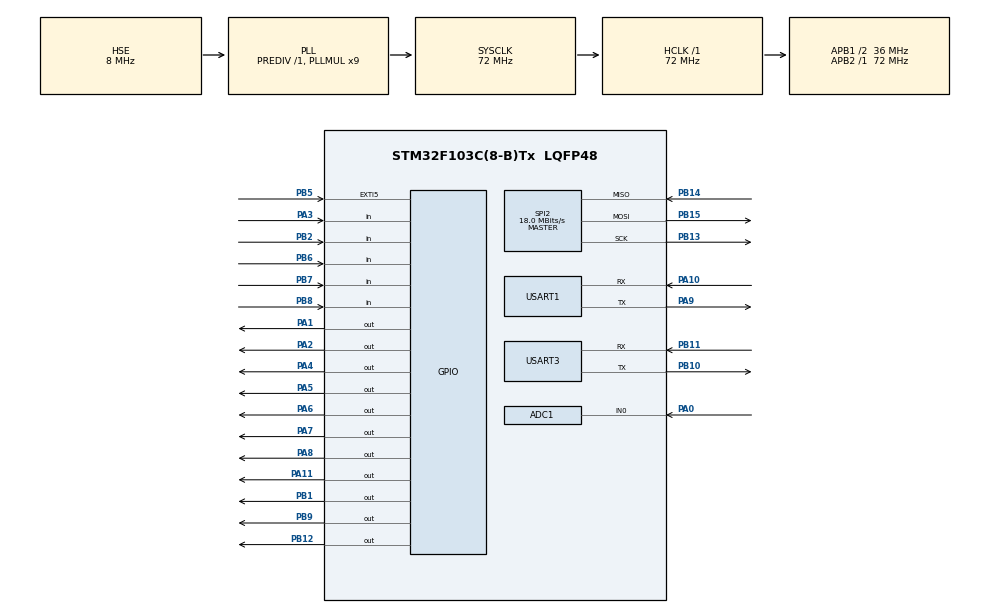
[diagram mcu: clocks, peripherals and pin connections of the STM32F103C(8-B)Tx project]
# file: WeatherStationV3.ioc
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ADC1.Channel-2\#ChannelRegularConversion=ADC_CHANNEL_0
ADC1.ContinuousConvMode=ENABLE
ADC1.DataAlign=ADC_DATAALIGN_RIGHT
ADC1.DiscontinuousConvMode=DISABLE
ADC1.EnableAnalogWatchDog=false
ADC1.EnableRegularConversion=ENABLE
ADC1.ExternalTrigConv=ADC_SOFTWARE_START
ADC1.InjNumberOfConversion=0
ADC1.NbrOfConversion=1
ADC1.NbrOfConversionFlag=1
ADC1.Rank-2\#ChannelRegularConversion=1
ADC1.SamplingTime-2\#ChannelRegularConversion=ADC_SAMPLETIME_1CYCLE_5
ADC1.ScanConvMode=ADC_SCAN_DISABLE
ADC1.master=1
IWDG.Prescaler=IWDG_PRESCALER_256
Mcu.Family=STM32F1
Mcu.Name=STM32F103C(8-B)Tx
Mcu.Package=LQFP48
NVIC.EXTI9_5_IRQn=true\:0\:0\:false\:false\:true\:true\:true
NVIC.PriorityGroup=NVIC_PRIORITYGROUP_4
NVIC.USART1_IRQn=true\:0\:0\:false\:false\:true\:true\:true
NVIC.USART3_IRQn=true\:0\:0\:false\:false\:true\:true\:true
PA0-WKUP.Signal=ADCx_IN0
PA1.Signal=GPIO_Output
PA10.Mode=Asynchronous
PA10.Signal=USART1_RX
PA11.GPIO_PuPd=GPIO_NOPULL
PA11.PinState=GPIO_PIN_SET
PA11.Signal=GPIO_Output
PA13.Mode=Serial_Wire
PA13.Signal=SYS_JTMS-SWDIO
PA14.Mode=Serial_Wire
PA14.Signal=SYS_JTCK-SWCLK
PA2.Signal=GPIO_Output
PA3.Signal=GPIO_Input
PA4.Signal=GPIO_Output
PA5.Signal=GPIO_Output
PA6.Signal=GPIO_Output
PA7.Signal=GPIO_Output
PA8.GPIO_ModeDefaultOutputPP=GPIO_MODE_OUTPUT_OD
PA8.Signal=GPIO_Output
PA9.Mode=Asynchronous
PA9.Signal=USART1_TX
PB1.Signal=GPIO_Output
PB10.Mode=Asynchronous
PB10.Signal=USART3_TX
PB11.Mode=Asynchronous
PB11.Signal=USART3_RX
PB12.Signal=GPIO_Output
PB13.Mode=Full_Duplex_Master
PB13.Signal=SPI2_SCK
PB14.Mode=Full_Duplex_Master
PB14.Signal=SPI2_MISO
PB15.Mode=Full_Duplex_Master
PB15.Signal=SPI2_MOSI
PB2.Signal=GPIO_Input
PB5.GPIO_ModeDefaultEXTI=GPIO_MODE_IT_FALLING
PB5.GPIO_PuPd=GPIO_PULLUP
PB5.Signal=GPXTI5
PB6.GPIO_PuPd=GPIO_PULLUP
PB6.Signal=GPIO_Input
PB7.GPIO_PuPd=GPIO_PULLUP
PB7.Signal=GPIO_Input
PB8.Signal=GPIO_Input
PB9.GPIO_PuPd=GPIO_PULLUP
PB9.GPIO_Speed=GPIO_SPEED_FREQ_HIGH
PB9.PinState=GPIO_PIN_SET
PB9.Signal=GPIO_Output
PC14-OSC32_IN.Mode=LSE-External-Oscillator
PC14-OSC32_IN.Signal=RCC_OSC32_IN
PC15-OSC32_OUT.Mode=LSE-External-Oscillator
PC15-OSC32_OUT.Signal=RCC_OSC32_OUT
PD0-OSC_IN.Mode=HSE-External-Oscillator
PD0-OSC_IN.Signal=RCC_OSC_IN
PD1-OSC_OUT.Mode=HSE-External-Oscillator
PD1-OSC_OUT.Signal=RCC_OSC_OUT
ProjectManager.HeapSize=0x300
ProjectManager.StackSize=0x400
ProjectManager.TargetToolchain=MDK-ARM V5
RCC.ADCPresc=RCC_ADCPCLK2_DIV6
RCC.AHBFreq_Value=72000000
RCC.APB1CLKDivider=RCC_HCLK_DIV2
RCC.APB1Freq_Value=36000000
RCC.APB1TimFreq_Value=72000000
RCC.APB2Freq_Value=72000000
RCC.APB2TimFreq_Value=72000000
RCC.HCLKFreq_Value=72000000
RCC.PLLMUL=RCC_PLL_MUL9
RCC.PLLSourceVirtual=RCC_PLLSOURCE_HSE
RCC.RTCClockSelection=RCC_RTCCLKSOURCE_LSE
RCC.SYSCLKFreq_VALUE=72000000
RCC.SYSCLKSource=RCC_SYSCLKSOURCE_PLLCLK
RCC.USBFreq_Value=72000000
SH.ADCx_IN0.0=ADC1_IN0,IN0
SPI2.BaudRatePrescaler=SPI_BAUDRATEPRESCALER_2
SPI2.CalculateBaudRate=18.0 MBits/s
SPI2.Direction=SPI_DIRECTION_2LINES
SPI2.Mode=SPI_MODE_MASTER
SPI2.VirtualType=VM_MASTER
USART1.VirtualMode=VM_ASYNC
USART3.VirtualMode=VM_ASYNC
VP_IWDG_VS_IWDG.Mode=IWDG_Activate
VP_RTC_VS_RTC_Activate.Mode=RTC_Enabled
VP_RTC_VS_RTC_Calendar.Mode=RTC_Calendar
board=custom

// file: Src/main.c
/* USER CODE BEGIN Header */
/*************************************************************************************************************
舸轮综合电子工作室(GIE工作室)        出品
Gearing Interated Electronics Studio

气象站3.0 边缘数据服务器（室内中继、上传与存储）

本文件是主函数和数据存储、主界面刷新等

主要功能：通过SX1278接收437MHz频段来自室外采集端的数据包，将数据包解码、打时间戳后存储到本地Flash中，再上传至
中移Onenet平台，WiFi的相关参数可通过AT命令修改，数据删除可通过内部UI实现

关注贴吧ID：tnt34 获得最新工作成果
关注B站UP主：GIE工作室 获得更多视频资源

2020-12-21第一版
版权所有 禁止用于任何商业用途！
***********************************************************************************************************/
/* USER CODE END Header */
#include "main.h"
#include "adc.h"
#include "iwdg.h"
#include "rtc.h"
#include "spi.h"
#include "usart.h"
#include "gpio.h"

/* USER CODE BEGIN Includes */
#include "sx12xxEiger.h"
#include "string.h"
#include "stdlib.h"
#include "user_para_init.h"
/* USER CODE END Includes */

/* USER CODE BEGIN PV */
/* Private variables ---------------------------------------------------------*/
RTC_DateTypeDef sdatestructure;
RTC_TimeTypeDef stimestructure;
unsigned char CM_Onenet_devID[24]="657283663";//默认设备ID
unsigned char CM_Onenet_api_key[40]="SkVLFtTMpEFf=xG581jwowTZ9q0=";//默认API-Key
unsigned char API_Base_addr[]="183.230.40.33";//默认接入地址
unsigned char Wifi_SSID[21]="GIE_Studio_NetCenter";//默认Wifi名
unsigned char Wifi_password[20]="7104021730114";//默认Wifi密码
int curr_addr_flash=0;//当前最新数据所在地址尾
//flash(W25Q128)的第0 block用于存放配置信息：
unsigned char default_setting[]={
	0xaf,//0-0  0xaf起始位
	0x00,0x77,0xEF,0x4F,0x53,//1-5  最新数据时间戳
	0x01,0x00,0x00,//6-8  当前最新数据所在地址，去除第0 block的配置信息后地址从0x10000写起
	0x00,0x00,0x00,0x00,0x00,0x00,0x00,0x00,0x00,0x00,0x00,0x00,0x00,0x00,0x00,0x00,0x00,0x00,0x00,0x00,0x00,0x00,//9-30 Wifi名,以0x00结尾
	0x00,0x00,0x00,0x00,0x00,0x00,0x00,0x00,0x00,0x00,0x00,0x00,0x00,0x00,0x00,0x00,0x00,0x00,0x00,0x00,0x00,0x00,//31-52 Wifi密码，以0x00结尾
	0x00,0x00,0x00,0x00,0x00,0x00,0x00,0x00,
	0x00,0x00,0x00,0x00,0x00,0x00,0x00,0x00,//53-67 中移OneNet平台设备ID，以0x00结尾
	0x00,0x00,0x00,0x00,0x00,0x00,0x00,0x00,
	0x00,0x00,0x00,0x00,0x00,0x00,0x00,0x00,
	0x00,0x00,0x00,0x00,0x00,0x00,0x00,0x00,
	0x00,0x00,0x00,0x00,0x00,0x00,0x00,0x00,
	0x00,0x00,0x00,0x00,0x00,0x00,0x00,0x00,//68-108 中移OneNet平台设备接入API-Key，以0x00结尾
	0x01,0xB5,//109-110 LoRa默认通信频率（437MHz）
	0x00,0x01,0x00,//111-113  当前已上传最新数据所在地址
};
/* USER CODE END PV */

void SystemClock_Config(void);
/* USER CODE BEGIN PFP */
/* Private function prototypes -----------------------------------------------*/
extern void OLED_Init(void);
/* USER CODE END PFP */

int main(void)
{

  /* MCU Configuration--------------------------------------------------------*/

  /* Reset of all peripherals, Initializes the Flash interface and the Systick. */
  HAL_Init();

  /* Configure the system clock */
  SystemClock_Config();

  /* Initialize all configured peripherals */
  MX_GPIO_Init();
  MX_USART1_UART_Init();
  MX_USART3_UART_Init();
  MX_RTC_Init();
  MX_SPI2_Init();
  MX_ADC1_Init();
  MX_IWDG_Init();
  /* USER CODE BEGIN 2 */
	HAL_UART_Receive_IT(&huart1, &TempChar, 1);
	HAL_UART_Receive_IT(&huart3, &TempChar2, 1);//打开串口中断
	OLED_Init();
	HAL_GPIO_WritePin(GPIOA, GPIO_PIN_2, GPIO_PIN_SET);//打开ADC输入
	HAL_GPIO_WritePin(GPIOA, GPIO_PIN_8, GPIO_PIN_SET);//关闭充电
	charge_flag=1;
	BoardInit( );
	Radio = RadioDriverInit( );
	Radio->Init( );
	Radio->StartRx( );
	BSP_W25Qx_Init();
	load_config();
	Show_HZ12_12(90,0,0,0,2);Asc6_12(132,0,"V3.0");//气象站V3
	Draw_Rectangle(0xaa,1,0,255,13,14);
	print_pc("GIE Weather Station Edge Data Server\r\n",sizeof("GIE Weather Station Edge Data Server\r\n"));
	Asc6_12(38,52,"GIE Studio 2020-12-15");
	Asc5_8(0,20,"WiFi Connecting...");
	print_pc("WiFi Connecting...\r\n",sizeof("WiFi Connecting...\r\n"));
	unsigned char temp_bufferw[30];
	sprintf((char *)temp_bufferw,"SSID:%s",Wifi_SSID);
	print_pc(temp_bufferw,sizeof(temp_bufferw)-1);
	Asc5_8(0,29,temp_bufferw);
	HAL_IWDG_Refresh(&hiwdg);
	if(ESP8266_Init())//初始化ESP8266，并连接wifi
	{
		Asc5_8(0,39,"WiFi Connect error, save data local");
		print_pc("\r\nWiFi Connect error, save data local\r\n",sizeof("\r\nWiFi Connect error, save data local\r\n"));
	}
	else
	{
		Asc5_8(0,39,"WiFi Connected");
		print_pc("\r\nWiFi Connected\r\n",sizeof("\r\nWiFi Connected\r\n"));
	}
	unsigned char vol_dis[]="0.00V";
	Show_HZ12_12(150,20,0,6,6);Show_HZ12_12(166,20,0,8,8);//电压：
	while(i<30)
		{
			voltage_get();
			sprintf((char*)vol_dis,"%.2lfV",read_adc);
			Asc6_12(188,20,vol_dis);
			HAL_Delay(100);
			i++;
		}
		i=0;
	Fill_RAM(0x00);
	OLED_WR_Byte(0xAF,0); //	Display On
  HAL_RTC_GetTime(&hrtc, &stimestructure, RTC_FORMAT_BIN);
  HAL_RTC_GetDate(&hrtc, &sdatestructure, RTC_FORMAT_BIN);
	if(sdatestructure.Year==0)//日期未设置，联网对时
	{
		HAL_IWDG_Refresh(&hiwdg);
		Asc5_8(0,0,"Local Time not set");
		print_pc("Local Time not set\r\n",sizeof("Local Time not set\r\n"));
		if(!HTTP_Time_Get(pack_time))
		{
			Asc5_8(0,8,"Net Time Get");
			print_pc("Net Time Get\r\n",sizeof("Net Time Get\r\n"));
			print_pc(pack_time,31);print_pc("\r\n",2);
			HTTP_Time_Convert((char *)pack_time);
			HAL_Delay(1000);
			Fill_RAM(0x00);
			OLED_WR_Byte(0xAF,0); //	Display On
		}
		else
		{
			Asc5_8(0,8,"Net Time Get Failed");
			print_pc("Net Time Get Failed\r\n",sizeof("Net Time Get Failed\r\n"));
			HAL_Delay(1000);
			Fill_RAM(0x00);
			OLED_WR_Byte(0xAF,0); //	Display On
		}
	}
		//以上为启动界面，以下为主信息显示屏初始化
		Refresh_Addr();
		Read_recent_rec();
		Package_Decoding();
		Main_UI_Refresh();
		print_pc("System Boot Complete\r\n",sizeof("System Boot Complete\r\n"));
		print_pc("Listening at 437MHz for Weather Packages\r\n",sizeof("Listening at 437MHz for Weather Packages\r\n"));
  /* USER CODE END 2 */

  /* Infinite loop */
  /* USER CODE BEGIN WHILE */
  while (1)
  {
		while( Radio->Process( ) == RF_RX_DONE)//从1278读取接收完成标志，如果这个包接收完成则进入
		{
		for(ixx=0;ixx<BUFFER_SIZE;ixx++)
		px[ixx] = 0;
		Radio->GetRxPacket( px, ( uint16_t* )&BufferSize );//依次取出缓冲区内容
		Rssi1278=(int)SX1276LoRaReadRssi();
		Radio->StartRx();
		Package_Decoding();
		if(!data_check())//检查数据是否合理
		{
				Fill_RAM(0x00);
				OLED_WR_Byte(0xAF,0); //	Display On
				Asc5_8(0,0,"Incoming Package...Analyzing...");
				//Asc5_8(0,0,"Incoming Package...Analyzing...");
				print_pc("Package Received\r\n",sizeof("Package Received\r\n"));

				upload_user();		//上传数据
				Save_Local_Data();			//本地保存数据
		}
			else
		{
				print_pc("Data Invalid\r\n",sizeof("Data Invalid\r\n"));
				Read_recent_rec();
				Package_Decoding();
		}
			Main_UI_Refresh();
			memset(px,0x00,sizeof(px));
		}
		charge_check();
		COM_Handler();
		if(EncoderKey_Scan()==1)//扫描编码器进入菜单
		{
			Enter_Menu_UI();
		}
    /* USER CODE END WHILE */

    /* USER CODE BEGIN 3 */
		HAL_IWDG_Refresh(&hiwdg);

  }
  /* USER CODE END 3 */
}

void SystemClock_Config(void)
{
  RCC_OscInitTypeDef RCC_OscInitStruct = {0};
  RCC_ClkInitTypeDef RCC_ClkInitStruct = {0};
  RCC_PeriphCLKInitTypeDef PeriphClkInit = {0};

  /** Initializes the RCC Oscillators according to the specified parameters
  * in the RCC_OscInitTypeDef structure.
  */
  RCC_OscInitStruct.OscillatorType = RCC_OSCILLATORTYPE_LSI|RCC_OSCILLATORTYPE_HSE
                              |RCC_OSCILLATORTYPE_LSE;
  RCC_OscInitStruct.HSEState = RCC_HSE_ON;
  RCC_OscInitStruct.HSEPredivValue = RCC_HSE_PREDIV_DIV1;
  RCC_OscInitStruct.LSEState = RCC_LSE_ON;
  RCC_OscInitStruct.HSIState = RCC_HSI_ON;
  RCC_OscInitStruct.LSIState = RCC_LSI_ON;
  RCC_OscInitStruct.PLL.PLLState = RCC_PLL_ON;
  RCC_OscInitStruct.PLL.PLLSource = RCC_PLLSOURCE_HSE;
  RCC_OscInitStruct.PLL.PLLMUL = RCC_PLL_MUL9;
  if (HAL_RCC_OscConfig(&RCC_OscInitStruct) != HAL_OK)
  {
    Error_Handler();
  }
  /** Initializes the CPU, AHB and APB buses clocks
  */
  RCC_ClkInitStruct.ClockType = RCC_CLOCKTYPE_HCLK|RCC_CLOCKTYPE_SYSCLK
                              |RCC_CLOCKTYPE_PCLK1|RCC_CLOCKTYPE_PCLK2;
  RCC_ClkInitStruct.SYSCLKSource = RCC_SYSCLKSOURCE_PLLCLK;
  RCC_ClkInitStruct.AHBCLKDivider = RCC_SYSCLK_DIV1;
  RCC_ClkInitStruct.APB1CLKDivider = RCC_HCLK_DIV2;
  RCC_ClkInitStruct.APB2CLKDivider = RCC_HCLK_DIV1;

  if (HAL_RCC_ClockConfig(&RCC_ClkInitStruct, FLASH_LATENCY_2) != HAL_OK)
  {
    Error_Handler();
  }
  PeriphClkInit.PeriphClockSelection = RCC_PERIPHCLK_RTC|RCC_PERIPHCLK_ADC;
  PeriphClkInit.RTCClockSelection = RCC_RTCCLKSOURCE_LSE;
  PeriphClkInit.AdcClockSelection = RCC_ADCPCLK2_DIV6;
  if (HAL_RCCEx_PeriphCLKConfig(&PeriphClkInit) != HAL_OK)
  {
    Error_Handler();
  }
}

/* USER CODE BEGIN 4 */
void COM_Handler(void)//AT命令响应与执行
{
	char* strx1=0,*strx2=0;
	unsigned char send_buffer[128];
	unsigned char read_buffer[64];
	int read_addr=0;//串口批量导出起始地址
	if(USART3_RX_STA&0x8000)
	{
		USART3_RX_STA=0;
		memset(send_buffer,0x00,sizeof(send_buffer));
		strx1=strstr((const char*)USART3_RX_BUF,"AT");
		if(strx1==0)
		{
			print_pc(USART3_RX_BUF,sizeof(USART3_RX_BUF));print_pc("\r\n",2);
			print_pc("Invalid Command\r\n",sizeof("Invalid Command\r\n"));
			memset(USART3_RX_BUF,0x00,sizeof(USART3_RX_BUF));
			return;
		}
		else
		{
			strx2=strstr((const char*)USART3_RX_BUF,"AT+");
			if(strx2==0)
			{
				print_pc("AT\r\n",sizeof("AT\r\n"));
				memset(USART3_RX_BUF,0x00,sizeof(USART3_RX_BUF));
				return;
			}
			else
			{
				strx1=strstr((const char*)USART3_RX_BUF,"EXP");
				if(strx1!=0)
				{
					if(*(strx1+3)=='?')//AT+EXP?查询当前最新数据的存储地址
					{
						print_pc(USART3_RX_BUF,sizeof(USART3_RX_BUF));print_pc("\r\n",2);
						sprintf((char*)send_buffer,"CURR_ADDR:%08X\r\n",curr_addr_flash);//AT+EXP=10000查询某地址之后的所有数据，16进制
						print_pc(send_buffer,20);
					}
					else if(*(strx1+3)=='=')
					{
						if(curr_addr_flash==0x10000)
						{
							print_pc(USART3_RX_BUF,sizeof(USART3_RX_BUF));print_pc("\r\n",2);
							print_pc("No data to export\r\n",sizeof("No data to export\r\n"));
						}
						strx1+=4;
						read_addr=ahextoi(strx1);
						if(read_addr>=0x10000&&read_addr<=0x1000000)
						{
							uint8_t time_store[6];
							read_addr=0x40*(read_addr/0x40);
							print_pc(USART3_RX_BUF,sizeof(USART3_RX_BUF));print_pc("\r\n",2);
							for(;read_addr<curr_addr_flash;read_addr+=0x40)
							{
								if(read_addr>=curr_addr_flash)
								{
									break;
								}
								BSP_W25Qx_Read(read_buffer,read_addr,0x40);
								Package_Decoding_Com(read_buffer);
								memcpy(time_store,read_buffer+32,6);
								sprintf((char *)send_buffer,"%.1fC %.1f%% %.0fPa %dug %duW %dppm %dppb 20%02d-%02d-%02d %02d:%02d:%02d %.2fV",
									env_send_com.temp,env_send_com.humi,env_send_com.pressure,env_send_com.dust_25,env_send_com.uvv,
									env_send_com.co2_eq_ppm,env_send_com.tvoc_ppb,time_store[0],time_store[1],time_store[2],time_store[3],time_store[4],time_store[5],env_send_com.batval);
								print_pc(send_buffer,sizeof(send_buffer));print_pc("\r\n",2);
								memset(send_buffer,0x00,sizeof(send_buffer));
							}
						}
						else
						{
							print_pc(USART3_RX_BUF,sizeof(USART3_RX_BUF));print_pc("\r\n",2);
							print_pc("Invalid Address",sizeof("Invalid Address"));
						}
					}

				}
				else
				{
					strx1=strstr((const char*)USART3_RX_BUF,"ERS");//AT+ERS删除所有存储的气象信息
					if(strx1!=0)
					{
						if(ers_f_flag==0)
						{
							print_pc(USART3_RX_BUF,sizeof(USART3_RX_BUF));print_pc("\r\n",2);
							print_pc("Type again to comfirm the erase of whole chip\r\n",sizeof("Type again to comfirm the erase of whole chip\r\n"));
							ers_f_flag=1;
						}
						else
						{
							print_pc(USART3_RX_BUF,sizeof(USART3_RX_BUF));print_pc("\r\n",2);
								print_pc("Working...\r\n",sizeof("Working...\r\n"));
								BSP_W25Qx_Erase_Chip();
								curr_addr_flash=0x10000;
								default_setting[6]=curr_addr_flash>>16;
								default_setting[7]=(curr_addr_flash&0xff00)>>8;
								default_setting[8]=(curr_addr_flash&0x00ff);
								BSP_W25Qx_Write(default_setting, 0x00,114);
								print_pc("Erase done!\r\n",sizeof("Erase done!\r\n"));
							ers_f_flag=0;
						}
					}
					else
					{
						strx1=strstr((const char*)USART3_RX_BUF,"CWJAP=");//AT+CWJAP=HUAWEI Mate9,7104021730114设置Wifi的SSID和密码
						if(strx1!=0)
						{
							strx1+=6;
							strx2=strstr((const char*)USART3_RX_BUF,",");
							if(strx2==0)
							{
								print_pc(USART3_RX_BUF,sizeof(USART3_RX_BUF));print_pc("\r\n",2);
								print_pc("Invalid Command\r\n",sizeof("Invalid Command\r\n"));
								memset(USART3_RX_BUF,0x00,sizeof(USART3_RX_BUF));
								return;
							}
							else
							{
								memset(Wifi_SSID,0x00,sizeof(Wifi_SSID));
								memcpy(Wifi_SSID,strx1,strx2-strx1);
								strx2+=1;
								strx2=strstr((const char*)USART3_RX_BUF,",");
								memset(Wifi_password,0x00,sizeof(Wifi_password));
								memcpy(Wifi_password,strx2+1,20);
								BSP_W25Qx_Erase_Block(0x00);
								memcpy(default_setting+9,Wifi_SSID,sizeof(Wifi_SSID));
								default_setting[9+sizeof(Wifi_SSID)-1]=0x00;
								memcpy(default_setting+31,Wifi_password,sizeof(Wifi_password));
								default_setting[31+sizeof(Wifi_password)-1]=0x00;
								BSP_W25Qx_Write(default_setting, 0x00,sizeof(default_setting));
								sprintf((char *)send_buffer,"New WiFi Set OK\r\nSSID:%s Pass:%s\r\nReboot to take effect\r\n",Wifi_SSID,Wifi_password);
								print_pc(USART3_RX_BUF,sizeof(USART3_RX_BUF));print_pc("\r\n",2);
								print_pc(send_buffer,sizeof(send_buffer));
							}
						}
						else
						{
							strx1=strstr((const char*)USART3_RX_BUF,"RST");	//AT+RST重启
							if(strx1!=0)
							{
								print_pc(USART3_RX_BUF,sizeof(USART3_RX_BUF));print_pc("\r\n",2);
								print_pc("System Reset\r\n",sizeof("System Reset\r\n"));
								__set_FAULTMASK(1); NVIC_SystemReset();
							}
							else
							{
								strx1=strstr((const char*)USART3_RX_BUF,"CMSET");	//AT+CMSET=657283663,SkVLFtTMpEFf=xG581jwowTZ9q0=设置设备ID和API-Key
								if(strx1!=0)
									{
										strx2=0;
										strx1=0;
										strx1=strstr((const char*)USART3_RX_BUF,"?");
										if(strx1!=0)
										{
											print_pc(USART3_RX_BUF,sizeof(USART3_RX_BUF));print_pc("\r\n",2);
											sprintf((char *)send_buffer,"DevID:%s API-Key:%s\r\n",CM_Onenet_devID,CM_Onenet_api_key);
											print_pc(send_buffer,sizeof(send_buffer));
											memset(USART3_RX_BUF,0x00,sizeof(USART3_RX_BUF));
											return;
										}
										strx1=strstr((const char*)USART3_RX_BUF,"=");
										strx1+=1;
										strx2=strstr((const char*)strx1,",");
										if(strx2!=0)
										{
											memset(CM_Onenet_devID,0x00,sizeof(CM_Onenet_devID));
											memcpy(CM_Onenet_devID,strx1,strx2-strx1);
											strx1=strx2+1;
											memset(CM_Onenet_api_key,0x00,sizeof(CM_Onenet_api_key));
											memcpy(CM_Onenet_api_key,strx1,40);
											BSP_W25Qx_Erase_Block(0x00);
											memcpy(default_setting+53,CM_Onenet_devID,24);
											default_setting[53+sizeof(CM_Onenet_devID)-1]=0x00;
											memcpy(default_setting+68,CM_Onenet_api_key,40);
											default_setting[68+sizeof(CM_Onenet_api_key)-1]=0x00;
											BSP_W25Qx_Write(default_setting, 0x00,sizeof(default_setting));
											print_pc("New Dev ID and API Key Set OK,Reboot to take effect\r\n",sizeof("New Dev ID and API Key Set OK,Reboot to take effect\r\n"));
											sprintf((char *)send_buffer,"DevID:%s API-Key:%s\r\n",CM_Onenet_devID,CM_Onenet_api_key);
											print_pc(USART3_RX_BUF,sizeof(USART3_RX_BUF));print_pc("\r\n",2);
											print_pc(send_buffer,sizeof(send_buffer));
										}
										else
										{
											print_pc("Invalid DevID\r\n",sizeof("Invalid DevID\r\n"));
										}
									}
								else
								{
									print_pc("Invalid Command\r\n",sizeof("Invalid Command\r\n"));
								}
							}
						}
					}
				}
			}
		}
		memset(USART3_RX_BUF,0x00,sizeof(USART3_RX_BUF));
	}
}
void Package_Decoding(void)//解码数据包
{
	if(px[0]==0&&px[1]==0&&px[2]==0&&px[3]==0&&px[4]==0&&px[5]==0&&px[6]==0&&px[7]==0&&px[8]==0)
		return;
		temp=buffer2float(px);
		humi=buffer2float(px+4);
		pressure=buffer2float(px+8);
		gas_r=buffer2float(px+12);
		voc_level=px[16];
		dust_25=px[17]<<24 | px[18]<<16 | px[19]<<8 | px[20];
		uvv=px[21]<<8 | px[22];
		co2_eq_ppm=px[23]<<8 | px[24];
		tvoc_ppb=px[25]<<8 | px[26];
		batval=buffer2float(px+27);
}
void Package_Decoding_Com(uint8_t input[])//串口导出时的数据包解码
{
		env_send_com.temp=buffer2float(input);
		env_send_com.humi=buffer2float(input+4);
		env_send_com.pressure=buffer2float(input+8);
		env_send_com.gas_r=buffer2float(input+12);
		env_send_com.dust_25=input[17]<<24 | input[18]<<16 | input[19]<<8 | input[20];
		env_send_com.uvv=input[21]<<8 | input[22];
		env_send_com.co2_eq_ppm=input[23]<<8 | input[24];
		env_send_com.tvoc_ppb=input[25]<<8 | input[26];
		env_send_com.batval=buffer2float(input+27);
}
void Main_UI_Refresh(void)//主界面数据刷新
{
	unsigned char dis_buffer[32];
	if(!data_check())//检查数据是否合理
	{
		Draw_Rectangle(0xaa,1,0,255,25,26);

		HZ24_24(0,0,0);//温度显示区
		sprintf((char*)dis_buffer,"%02.2f",temp);
		Asc12_24(36,0,dis_buffer);
		HZ24_24(96,0,1);

		HZ24_24(136,0,2);//湿度显示区
		sprintf((char*)dis_buffer,"%02.2f%",humi);
		Asc12_24(172,0,dis_buffer);

		Show_HZ12_12(0,29,0,12,12);//气压显示区
		sprintf((char*)dis_buffer,"%6.0fPa",pressure);
		Asc6_12(13,29,dis_buffer);

		Draw_Rectangle(0xaa,1,82,82,26,40);
		sprintf((char*)dis_buffer,"%03dppm",co2_eq_ppm);
		Asc6_12(87,29,"CO2:");
		Asc6_12(112,29,dis_buffer);

		Draw_Rectangle(0xaa,1,175,175,26,40);
		sprintf((char*)dis_buffer,"%03d",tvoc_ppb);
		Asc6_12(180,29,"TVOC:");
		Asc6_12(220,29,dis_buffer);

		Draw_Rectangle(0xaa,1,0,255,40,40);

		Asc6_12(0,41,"PM2.5:");
		sprintf((char*)dis_buffer,"%04dug",dust_25);
		Asc6_12(50,41,dis_buffer);

		Asc6_12(100,41,"UV:");
		sprintf((char*)dis_buffer,"%04duW",uvv);
		Asc6_12(120,41,dis_buffer);

		Draw_Rectangle(0xaa,1,175,175,40,52);

		Asc6_12(180,41,"GR:");
		sprintf((char*)dis_buffer,"%.0fh",gas_r);
		Asc6_12(216,41,dis_buffer);

		Draw_Rectangle(0xaa,1,0,255,52,52);

		sprintf((char*)dis_buffer,"UPT:%02d%02d%02d %02d:%02d",year,mon,day,hour,min);
		Asc6_12(100,54,dis_buffer);
		sprintf((char*)dis_buffer,"%.2fV",batval);
		Asc6_12(0,54,dis_buffer);
		sprintf((char*)dis_buffer,"%ddb",Rssi1278);
		Asc6_12(50,54,dis_buffer);
	}
}
void voltage_get(void)//本机电压获取
{
	int time_out=0,adc_raw;
	HAL_ADC_Start(&hadc1);
	HAL_ADC_GetValue(&hadc1);
	while(HAL_ADC_PollForConversion(&hadc1, 0xff)!=HAL_OK)
	{
		time_out++;
		if(time_out>10000)
			return;
	}
	adc_raw=HAL_ADC_GetValue(&hadc1);
	read_adc=((float)adc_raw/65535.0)*3.3*70-2.75;//换算为电压
}
void charge_check(void)//控制充电开始与结束
{
	if(charge_com_flag==1)
	{
		HAL_GPIO_WritePin(GPIOA, GPIO_PIN_8, GPIO_PIN_RESET);
		charge_flag=1;
		return;
	}
	voltage_get();
		if(read_adc>4.00&&charge_flag==1)
		{
			flag_40++;
		}
		else if(flag_40>0&&read_adc<=4.00)
		{
			flag_40--;
		}
		if(flag_40>50&&charge_flag==1)
		{

			HAL_GPIO_WritePin(GPIOA, GPIO_PIN_8, GPIO_PIN_SET);//关闭充电
			charge_flag=0;
		}
		if(read_adc<3.95&&charge_flag==0)
		{
			flag_395++;
		}
		else if(flag_395>0&&read_adc>3.95&&charge_flag==0)
		{
			flag_395--;
		}
		if(flag_395>50)
		{
			HAL_GPIO_WritePin(GPIOA, GPIO_PIN_8, GPIO_PIN_RESET);//开启充电
			charge_flag=1;

		}
}
int data_check(void)//数据检查
{
	if(temp<60&&temp>-50&&humi>0&&humi<100&&pressure>50000&&pressure<110000&&batval>0&&batval<10)
		return 0;
	else
		return 1;
}
void load_config(void)//加载配置
{
	unsigned char write_buffer[256];
	BSP_W25Qx_Read(write_buffer, 0x00, 0xff);//读取配置block，仅第0page有效
	if(write_buffer[0]!=0xaf)//首次开机写入默认配置
	{
		BSP_W25Qx_Erase_Block(0x00);
		memcpy(default_setting+9,Wifi_SSID,sizeof(Wifi_SSID));
		default_setting[9+sizeof(Wifi_SSID)-1]=0x00;
		memcpy(default_setting+31,Wifi_password,sizeof(Wifi_password));
		default_setting[31+sizeof(Wifi_password)-1]=0x00;
		memcpy(default_setting+53,CM_Onenet_devID,sizeof(CM_Onenet_devID));
		default_setting[53+sizeof(CM_Onenet_devID)-1]=0x00;
		memcpy(default_setting+68,CM_Onenet_api_key,sizeof(CM_Onenet_api_key));
		default_setting[68+sizeof(CM_Onenet_api_key)-1]=0x00;
		curr_addr_flash=0x10000;
		BSP_W25Qx_Write(default_setting, 0x00,sizeof(default_setting));
	}
	else//非首次开机读取flash中的配置
	{
		memset(Wifi_SSID,0x00,sizeof(Wifi_SSID));
		memcpy(Wifi_SSID,write_buffer+9,sizeof(Wifi_SSID));
		memset(Wifi_password,0x00,sizeof(Wifi_password));
		memcpy(Wifi_password,write_buffer+31,sizeof(Wifi_password));
		memset(CM_Onenet_devID,0x00,sizeof(CM_Onenet_devID));
		memcpy(CM_Onenet_devID,write_buffer+53,sizeof(CM_Onenet_devID));
		memset(CM_Onenet_api_key,0x00,sizeof(CM_Onenet_api_key));
		memcpy(CM_Onenet_api_key,write_buffer+68,sizeof(CM_Onenet_api_key));
		curr_addr_flash=(write_buffer[6]<<16)|(write_buffer[7]<<8)|(write_buffer[8]);
		memcpy(default_setting,write_buffer,sizeof(default_setting));
	}

}
void Read_recent_rec(void)//读取flash中最新的数据
{
	unsigned char temp_data[64],time_store[6];
	if(curr_addr_flash==0x10000)
		return;
	BSP_W25Qx_Read(temp_data,curr_addr_flash-0x40,0x40);
	memcpy(px,temp_data,32);
	memcpy(time_store,temp_data+32,6);
	hex2time(time_store);
}
void Save_Local_Data(void)
{
	if(temp==22.22&&humi==88.88&&pressure==100000&&gas_r==1111&&batval==9.9)//避免保存无意义数据
		return;
	unsigned char time_store[6];
	unsigned char temp_pack[1];
	memset(Save_Package,0x00,64);
	memcpy(Save_Package,px,32);
	time2hex(time_store);
	memcpy(Save_Package+32,time_store,6);
	BSP_W25Qx_Read(temp_pack,curr_addr_flash,sizeof(temp_pack));
	while(temp_pack[0]!=0xff)
	{
		curr_addr_flash+=64;
		BSP_W25Qx_Read(temp_pack,curr_addr_flash,sizeof(temp_pack));
	}
	BSP_W25Qx_Write(Save_Package,curr_addr_flash,sizeof(Save_Package));
	BSP_W25Qx_Read(Save_Package,curr_addr_flash,sizeof(Save_Package));
	curr_addr_flash+=64;
	default_setting[6]=(curr_addr_flash&0xff0000)>>16;
	default_setting[7]=(curr_addr_flash&0xff00)>>8;
	default_setting[8]=curr_addr_flash&0x00ff;
	BSP_W25Qx_Erase_Block(0x00);
	BSP_W25Qx_Write(default_setting, 0x00,sizeof(default_setting));
}
void Refresh_Addr(void)
{
	unsigned char temp_pack[1];
	BSP_W25Qx_Read(temp_pack,curr_addr_flash,sizeof(temp_pack));
		while(temp_pack[0]!=0xff)
	{
		curr_addr_flash+=64;
		BSP_W25Qx_Read(temp_pack,curr_addr_flash,sizeof(temp_pack));
	}
	default_setting[6]=(curr_addr_flash&0xff0000)>>16;
	default_setting[7]=(curr_addr_flash&0xff00)>>8;
	default_setting[8]=curr_addr_flash&0x00ff;
	BSP_W25Qx_Erase_Block(0x00);
	BSP_W25Qx_Write(default_setting, 0x00,sizeof(default_setting));
}
void time2hex(unsigned char *output)//将时间转换为存储序列
{
		HAL_RTC_GetTime(&hrtc, &stimestructure, RTC_FORMAT_BIN);
		HAL_RTC_GetDate(&hrtc, &sdatestructure, RTC_FORMAT_BIN);
    output[0]=sdatestructure.Year;
		year=2000+output[0];
    output[1]=sdatestructure.Month;
		mon=output[1];
    output[2]=sdatestructure.Date;
		day=output[2];
    output[3]=stimestructure.Hours;
		hour=output[3];
    output[4]=stimestructure.Minutes;
		min=output[4];
		output[5]=stimestructure.Seconds;
		sec=output[5];
}
void hex2time(unsigned char *input)//将存储的时间取出
{
    year=input[0]+2000;
		mon= input[1];
		day= input[2];
		hour=input[3];
		min= input[4];
		sec= input[5];
}
void HTTP_Time_Convert(char HTTP_IN[])//转换HTTP时间戳为本地时间
{
    int lastday = 0;
		char *strx1;
		char *strx2;
		char mon_char[3];
		char* mon_eg[]={"Jan","Feb","Mar","Apr","May","Jun","Jul","Aug","Sep","Oct","Nov","Dec"};
		unsigned int UTCyear,UTCmonth,UTCday,UTChour,UTCminute,UTCsecond;
		strx1=strstr((const char*)HTTP_IN,",")+2;
		strx2=strstr((const char*)strx1," ");
		*strx2=0;
		UTCday=atoi(strx1);
		memcpy(mon_char,strx2+1,3);
		for(i=1;i<13;i++)
		{
			if(moncmp(mon_char,mon_eg[i-1])==0)
			{
				UTCmonth=i;
				break;
			}
			else
				UTCmonth=0;
		}
		strx1=strstr((const char*)strx2+1,"20");
		strx2=strstr((const char*)strx1+1," ");
		*strx2=0;
		UTCyear=atoi(strx1);
		strx2+=1;
		strx1=strstr((const char*)strx2,":");
		*strx1=0;
		UTChour=atoi(strx2);
		strx1+=1;
		strx2=strstr((const char*)strx1,":");
		*strx2=0;
		UTCminute=atoi(strx1);

		strx2+=1;
		UTCsecond=atoi(strx2);

	  year=UTCyear;
		mon=UTCmonth;
	  day=UTCday;
	  hour=UTChour+8;
		min=UTCminute;
		sec=UTCsecond;
	  if(mon==1 || mon==3 || mon==5 || mon==7 || mon==8 || mon==10 || mon==12)
		{
        lastday = 31;
    }
    else if(mon == 4 || mon == 6 || mon == 9 || mon == 11)
		{
        lastday = 30;
    }
    else
		{
        if((year%400 == 0)||(year%4 == 0 && year%100 != 0))
            lastday = 29;
        else
            lastday = 28;
    }
		if(hour >= 24)
		{
				hour -= 24;
				day += 1;
				if(day > lastday)
				{
						day -= lastday;
						mon += 1;

						if(mon > 12)
						{
								mon -= 12;
								year += 1;
						}
				}
		}
		stimestructure.Hours=hour;
		stimestructure.Minutes=min;
		stimestructure.Seconds=sec;
		sdatestructure.Date=day;
		sdatestructure.Month=mon;
		sdatestructure.Year=year-2000;
		HAL_RTC_SetTime(&hrtc, &stimestructure, RTC_FORMAT_BIN);
    HAL_RTC_SetDate(&hrtc, &sdatestructure, RTC_FORMAT_BIN);
}

float int2float_mem(int *pf)//获取浮点数在内存的原始数据
{
	float n = *(float *)pf;
    return n;
}
float buffer2float(unsigned char * inp)//将分开存储的浮点数还原
{
	int n=0;
	n=(inp[0]<<24)|(inp[1]<<16)|(inp[2]<<8)|inp[3];
	return int2float_mem(&n);
}
int moncmp(char* in1,char* in2)//月份的三个字母比较
{
	if(in1[0]==in2[0]&&in1[1]==in2[1]&&in1[2]==in2[2])
		return 0;
	else
		return 1;
}
void print_pc(unsigned char inputdata[],int length)//串口打印到电脑
{
	int ixxx=0;
	for(ixxx=0;ixxx<length;ixxx++)
	{
		if(inputdata[ixxx]=='\0')
		{
			break;
		}
	}
	HAL_UART_Transmit(&huart3,inputdata,ixxx,100);
}
int ahextoi( const char* hex_str)//16进制字符串转16进制数
{
   int r =0;
  if(hex_str)
     sscanf(hex_str,"%x",&r);
   return r;
}
/* USER CODE END 4 */

void Error_Handler(void)
{
  while(1)
  {
  }
}

/************************ (C) COPYRIGHT STMicroelectronics *****END OF FILE****/
